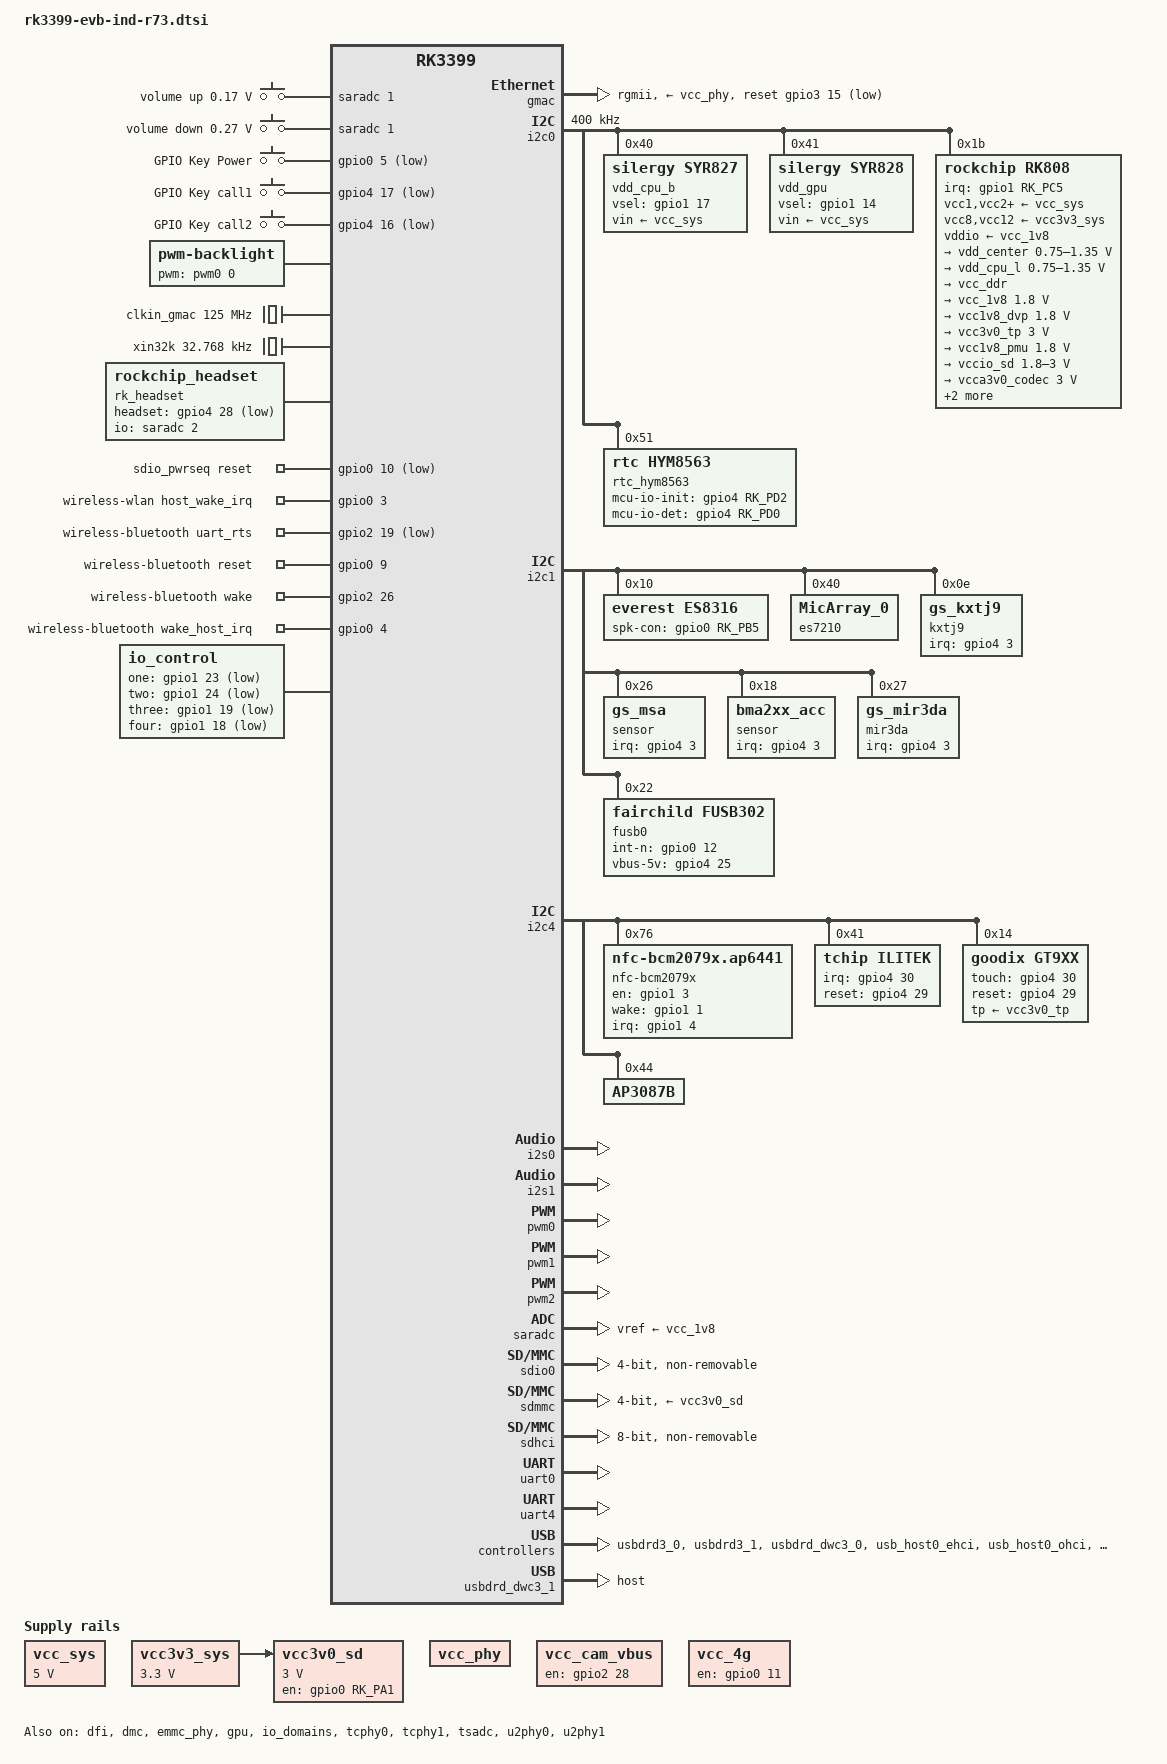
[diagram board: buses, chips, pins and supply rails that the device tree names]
// SPDX-License-Identifier: (GPL-2.0+ OR MIT)
/*
 * Copyright (c) 2019 Fuzhou Rockchip Electronics Co., Ltd
 */

#include "dt-bindings/pwm/pwm.h"
#include "rk3399.dtsi"
#include "rk3399-opp.dtsi"
#include <dt-bindings/sensor-dev.h>
#include "rk3399-vop-clk-set.dtsi"
#include <dt-bindings/input/input.h>

/ {
	compatible = "rockchip,rk3399-evb-ind", "rockchip,rk3399";

	adc_keys {
		compatible = "adc-keys";
		io-channels = <&saradc 1>;
		io-channel-names = "buttons";
		keyup-threshold-microvolt = <1800000>;
		poll-interval = <100>;

		vol-up-key {
			label = "volume up";
			linux,code = <KEY_VOLUMEUP>;
			press-threshold-microvolt = <170000>;   //100000
		};

		vol-down-key {
			label = "volume down";
			linux,code = <KEY_VOLUMEDOWN>;
			press-threshold-microvolt = <270000>;
		};
	};

	gpio_keys: gpio-keys {
		status = "okay";
		compatible = "gpio-keys";
		autorepeat;
		pinctrl-names = "default";
		pinctrl-0 = <&pwrbtn>;
		pinctrl-1 = <&key_call1>;
		pinctrl-2 = <&key_call2>;

		power {
			debounce-interval = <100>;
			gpios = <&gpio0 5 GPIO_ACTIVE_LOW>;
			label = "GPIO Key Power";
			linux,code = <KEY_POWER>;
			wakeup-source;
		};
		
		call1 {
		    debounce-interval = <5>;
			gpios = <&gpio4 17 GPIO_ACTIVE_LOW>;
			linux,code = <289>;
			label = "GPIO Key call1";
			//pinctrl-names = "default", "gpio";
			//pinctrl-0 = <&i2c3_gpio>;
			gpio-key;
		};

		call2 {
		    debounce-interval = <5>;
			gpios = <&gpio4 16 GPIO_ACTIVE_LOW>;
			linux,code = <290>;
			label = "GPIO Key call2";
			//pinctrl-names = "default", "gpio";
			//pinctrl-0 = <&i2c3_gpio>;
			gpio-key;
	    };
	};

	backlight: backlight {
		status = "okay";
		compatible = "pwm-backlight";
		pwms = <&pwm0 0 500000 0>;
		brightness-levels = <
			  0   1   2   3   4   5   6   7
			  8   9  10  11  12  13  14  15
			 16  17  18  19  20  21  22  23
			 24  25  26  27  28  29  30  31
			 32  33  34  35  36  37  38  39
			 40  41  42  43  44  45  46  47
			 48  49  50  51  52  53  54  55
			 56  57  58  59  60  61  62  63
			 64  65  66  67  68  69  70  71
			 72  73  74  75  76  77  78  79
			 80  81  82  83  84  85  86  87
			 88  89  90  91  92  93  94  95
			 96  97  98  99 100 101 102 103
			104 105 106 107 108 109 110 111
			112 113 114 115 116 117 118 119
			120 121 122 123 124 125 126 127
			128 129 130 131 132 133 134 135
			136 137 138 139 140 141 142 143
			144 145 146 147 148 149 150 151
			152 153 154 155 156 157 158 159
			160 161 162 163 164 165 166 167
			168 169 170 171 172 173 174 175
			176 177 178 179 180 181 182 183
			184 185 186 187 188 189 190 191
			192 193 194 195 196 197 198 199
			200 201 202 203 204 205 206 207
			208 209 210 211 212 213 214 215
			216 217 218 219 220 221 222 223
			224 225 226 227 228 229 230 231
			232 233 234 235 236 237 238 239
			240 241 242 243 244 245 246 247
			248 249 250 251 252 253 254 255>;
		default-brightness-level = <200>;
	};

	clkin_gmac: external-gmac-clock {
		compatible = "fixed-clock";
		clock-frequency = <125000000>;
		clock-output-names = "clkin_gmac";
		#clock-cells = <0>;
	};
	xin32k: xin32k {
		compatible = "fixed-clock";
		clock-frequency = <32768>;
		clock-output-names = "xin32k";
		#clock-cells = <0>;
	};
/*
	dw_hdmi_audio: dw-hdmi-audio {
		status = "disabled";
		compatible = "rockchip,dw-hdmi-audio";
		#sound-dai-cells = <0>;
	};


	dp_sound: dp-sound {
		status = "disabled";
		compatible = "rockchip,cdndp-sound";
		rockchip,cpu = <&spdif>;
		rockchip,codec = <&cdn_dp 1>;
	};

	hdmi_sound: hdmi-sound {
		status = "disabled";
		compatible = "simple-audio-card";
		simple-audio-card,format = "i2s";
		simple-audio-card,mclk-fs = <256>;
		simple-audio-card,name = "rockchip,hdmi";

		simple-audio-card,cpu {
			sound-dai = <&i2s2>;
		};
		simple-audio-card,codec {
			sound-dai = <&hdmi>;
		};
	};

	

	spdif_sound: spdif-sound {
		status = "okay";
		compatible = "simple-audio-card";
		simple-audio-card,name = "ROCKCHIP,SPDIF";
		simple-audio-card,cpu {
			sound-dai = <&spdif>;
		};
		simple-audio-card,codec {
			sound-dai = <&spdif_out>;
		};
	};
*/

	es8316-sound {
		status = "okay";
		compatible = "simple-audio-card";
		simple-audio-card,format = "i2s";
		simple-audio-card,name = "rockchip,es8316-codec";
		simple-audio-card,mclk-fs = <512>;
		simple-audio-card,widgets =
			"Microphone", "Mic Jack",
			"Headphone", "Headphone Jack";
		simple-audio-card,routing =
			"Mic Jack", "MICBIAS1",
			"IN1P", "Mic Jack",
			"Headphone Jack", "HPOL",
			"Headphone Jack", "HPOR";
		simple-audio-card,cpu {
			sound-dai = <&i2s1>;
			system-clock-frequency = <12288000>;   //48K 44100---11289600  (48000*64*4)
		};
		simple-audio-card,codec {
			sound-dai = <&es8316>;
			system-clock-frequency = <12288000>;
		};
	};

	es7210_sound:es7210-sound {
		status = "okay";
		compatible = "simple-audio-card";
		simple-audio-card,format = "i2s";
		simple-audio-card,name = "rockchip,es7210-codec";
		simple-audio-card,mclk-fs = <512>;
		simple-audio-card,widgets =
		"Microphone", "Microphone Jack",
		"Headphone", "Headphone Jack";
		simple-audio-card,routing =
		"MIC1", "Microphone Jack",
		"MIC2", "Microphone Jack",
		"Microphone Jack", "micbias1",
		"Headphone Jack", "HPOL",
		"Headphone Jack", "HPOR";
		simple-audio-card,cpu {
			sound-dai = <&i2s0>;
		};
		simple-audio-card,codec {
			sound-dai = <&es7210>;
		};
	};

	rk_headset: rk-headset {
		compatible = "rockchip_headset";
		headset_gpio = <&gpio4 28 GPIO_ACTIVE_LOW>;//hua tong GPIO_ACTIVE_HIGH
		pinctrl-names = "default";
		pinctrl-0 = <&hp_det>;
		io-channels = <&saradc 2>;
	};   

/*
	spdif_out: spdif-out {
		status = "okay";
		compatible = "linux,spdif-dit";
		#sound-dai-cells = <0>;
	};
*/
   
	sdio_pwrseq: sdio-pwrseq {
		compatible = "mmc-pwrseq-simple";
		clocks = <&rk808 1>;
		clock-names = "ext_clock";
		pinctrl-names = "default";
		pinctrl-0 = <&wifi_enable_h>;

		/*
		 * On the module itself this is one of these (depending
		 * on the actual card populated):
		 * - SDIO_RESET_L_WL_REG_ON
		 * - PDN (power down when low)
		 */
		reset-gpios = <&gpio0 10 GPIO_ACTIVE_LOW>; /* GPIO0_B2 */
	};

	wireless-wlan {
		compatible = "wlan-platdata";
		rockchip,grf = <&grf>;
		wifi_chip_type = "ap6354";
		sdio_vref = <1800>;
		WIFI,host_wake_irq = <&gpio0 3 GPIO_ACTIVE_HIGH>; /* GPIO0_a3 */
		status = "okay";
	};

	wireless-bluetooth {
		compatible = "bluetooth-platdata";
		clocks = <&rk808 1>;
		clock-names = "ext_clock";
		//wifi-bt-power-toggle;
		uart_rts_gpios = <&gpio2 19 GPIO_ACTIVE_LOW>; /* GPIO2_C3 */
		pinctrl-names = "default", "rts_gpio";
		pinctrl-0 = <&uart0_rts>, <&bt_reset_gpio>, <&bt_wake_gpio>, <&bt_irq_gpio>;
		pinctrl-1 = <&uart0_gpios>;
		//BT,power_gpio  = <&gpio3 19 GPIO_ACTIVE_HIGH>; /* GPIOx_xx */
		BT,reset_gpio    = <&gpio0 9 GPIO_ACTIVE_HIGH>; /* GPIO0_B1 */
		BT,wake_gpio     = <&gpio2 26 GPIO_ACTIVE_HIGH>; /* GPIO2_D2 */
		BT,wake_host_irq = <&gpio0 4 GPIO_ACTIVE_HIGH>; /* GPIO0_A4 */
		status = "okay";
	};

	io_control {
		compatible = "io_control";
		gpio-one = <&gpio1 23 GPIO_ACTIVE_LOW>;
		gpio-two = <&gpio1 24 GPIO_ACTIVE_LOW>;
		gpio-three = <&gpio1 19 GPIO_ACTIVE_LOW>;
		gpio-four = <&gpio1 18 GPIO_ACTIVE_LOW>;
//FOR hua tong
		//gpio-three = <&gpio4 16 GPIO_ACTIVE_LOW>;
		//gpio-four = <&gpio2 28 GPIO_ACTIVE_LOW>;
		pinctrl-names = "default","one","two","three";
		pinctrl-0 = <&gpio_one>;
		pinctrl-1 = <&gpio_two>;
		pinctrl-2 = <&gpio_three>;
		pinctrl-3 = <&gpio_four>;
		status = "okay";
	};

/*	
	rk_modem: rk-modem {
		compatible="4g-modem-platdata";
		pinctrl-names = "default";
		pinctrl-0 = <&lte_vbat &lte_power_en &lte_reset>;
		4G,vbat-gpio = <&gpio4 RK_PD0 GPIO_ACTIVE_HIGH>;
		4G,power-gpio = <&gpio4 RK_PC6 GPIO_ACTIVE_LOW>;
		4G,reset-gpio = <&gpio4 RK_PD4 GPIO_ACTIVE_LOW>;
		status = "disabled";
	};
*/

/*	vcc_otg_vbus: otg-vbus-regulator { 	
		compatible = "regulator-fixed"; 
		//gpio = <&gpio3 RK_PC6 GPIO_ACTIVE_HIGH>; 
		gpio = <&gpio4 RK_PD1 GPIO_ACTIVE_HIGH>;
		pinctrl-names = "default"; 
		pinctrl-0 = <&otg_vbus_drv>; 
		regulator-name = "vcc_otg_vbus"; 
		regulator-min-microvolt = <5000000>; 
		regulator-max-microvolt = <5000000>; 
		enable-active-high; 
	};*/
/*
	vcc5v0_usbnet: vcc5v0-usbnet {
		compatible = "regulator-fixed";
		enable-active-high;
		//gpio = <&gpio4 18 GPIO_ACTIVE_HIGH>;
		pinctrl-names = "default";
		pinctrl-0 = <&usbnet_pwr_drv>;
		regulator-name = "vcc5v0_usbnet";
		startup-delay-us = <20000>;
		regulator-min-microvolt = <5000000>;
		regulator-max-microvolt = <5000000>;
		status = "okay";
	};
*/
	vcc_sys: vcc-sys {
		compatible = "regulator-fixed";	
		regulator-name = "vcc_sys";
		regulator-always-on;
		regulator-boot-on;
		regulator-min-microvolt = <5000000>;
		regulator-max-microvolt = <5000000>;
	};

	vcc3v3_sys: vcc3v3-sys {
		compatible = "regulator-fixed";
		regulator-name = "vcc3v3_sys";
		regulator-always-on;
		regulator-boot-on;
		regulator-min-microvolt = <3300000>;
		regulator-max-microvolt = <3300000>;
	};

	vcc3v0_sd: vcc3v0-sd {
		compatible = "regulator-fixed";
		enable-active-high;
		gpio = <&gpio0 RK_PA1 GPIO_ACTIVE_HIGH>;
		pinctrl-names = "default";
		pinctrl-0 = <&sdmmc0_pwr_h>;
		regulator-always-on;
		regulator-max-microvolt = <3000000>;
		regulator-min-microvolt = <3000000>;
		regulator-name = "vcc3v0_sd";
		vin-supply = <&vcc3v3_sys>;
	};

	vcc_phy: vcc-phy-regulator {
		compatible = "regulator-fixed";
		regulator-name = "vcc_phy";
		regulator-always-on;
		regulator-boot-on;
	};

	//for hua tong /*vcc_cam_vbus*/
	vcc_cam_vbus: cam-vbus-regulator { 	
		compatible = "regulator-fixed"; 		
		gpio = <&gpio2 28 GPIO_ACTIVE_HIGH>;
		pinctrl-names = "default"; 
		pinctrl-0 = <&usb_cam_drv>; 
		regulator-name = "vcc_cam_vbus"; 
		regulator-always-on;
		regulator-boot-on; 
		enable-active-high; 
	};

	vcc_4g: vcc-4g-regulator {
		compatible = "regulator-fixed";
		enable-active-high;
		gpio = <&gpio0 11 GPIO_ACTIVE_HIGH>;
		pinctrl-names = "default";
		pinctrl-0 = <&vcc_4g_drv>;
		regulator-name = "vcc_4g";
		regulator-always-on;
		regulator-boot-on;		
	};

    /*vcc_rfid_vbus: rfid-vbus-regulator { 	
		compatible = "regulator-fixed"; 		
		gpio = <&gpio1 4 GPIO_ACTIVE_HIGH>;
		pinctrl-names = "default"; 
		pinctrl-0 = <&vcc_rfid_drv>; 
		regulator-name = "vcc_rfid_vbus"; 
		regulator-always-on;
		regulator-boot-on; 
		enable-active-high; 
	};*/
	/*vdd_log: vdd-log {
		compatible = "pwm-regulator";
		regulator-name = "vdd_log";
		regulator-min-microvolt = <800000>;
		regulator-max-microvolt = <1400000>;
		regulator-always-on;
		regulator-boot-on;
		rockchip,pwm_id= <2>;
		rockchip,pwm_voltage = <900000>;
	};*/
};

&cpu_l0 {
	cpu-supply = <&vdd_cpu_l>;
};

&cpu_l1 {
	cpu-supply = <&vdd_cpu_l>;
};

&cpu_l2 {
	cpu-supply = <&vdd_cpu_l>;
};

&cpu_l3 {
	cpu-supply = <&vdd_cpu_l>;
};

&cpu_b0 {
	cpu-supply = <&vdd_cpu_b>;
};

&cpu_b1 {
	cpu-supply = <&vdd_cpu_b>;
};
/*
&cdn_dp {
	status = "disabled";
	extcon = <&fusb0>;
	phys = <&tcphy0_dp>;
};
*/
&dp_in_vopb {
	status = "disabled";
};

&dfi {
	status = "okay";
};

&dmc {
	status = "okay";
	center-supply = <&vdd_center>;
	upthreshold = <40>;
	downdifferential = <20>;
	system-status-freq = <
		/*system status         freq(KHz)*/
		SYS_STATUS_NORMAL       856000
		SYS_STATUS_REBOOT       856000
		SYS_STATUS_SUSPEND      328000
		SYS_STATUS_VIDEO_1080P  666000
		SYS_STATUS_VIDEO_4K     856000
		SYS_STATUS_VIDEO_4K_10B 856000
		SYS_STATUS_PERFORMANCE  856000
		SYS_STATUS_BOOST        856000
		SYS_STATUS_DUALVIEW     856000
		SYS_STATUS_ISP          856000
	>;
	vop-bw-dmc-freq = <
	/* min_bw(MB/s) max_bw(MB/s) freq(KHz) */
		0       762      416000
		763     3012     666000
		3013    99999    856000
	>;

	vop-pn-msch-readlatency = <
		0	0x20
		4	0x20
	>;

	auto-min-freq = <328000>;
	auto-freq-en = <0>;
};

&dmc_opp_table {
		compatible = "operating-points-v2";

		opp-200000000 {
			opp-hz = /bits/ 64 <200000000>;
			opp-microvolt = <900000>;
			status = "disabled";
		};
		opp-300000000 {
			opp-hz = /bits/ 64 <300000000>;
			opp-microvolt = <900000>;
			status = "disabled";
		};
		opp-328000000 {
			opp-hz = /bits/ 64 <328000000>;
			opp-microvolt = <900000>;
		};
		opp-400000000 {
			opp-hz = /bits/ 64 <400000000>;
			opp-microvolt = <900000>;
			status = "disabled";
		};
		opp-416000000 {
			opp-hz = /bits/ 64 <416000000>;
			opp-microvolt = <900000>;
		};
		opp-528000000 {
			opp-hz = /bits/ 64 <528000000>;
			opp-microvolt = <900000>;
			status = "disabled";
		};
		opp-600000000 {
			opp-hz = /bits/ 64 <600000000>;
			opp-microvolt = <900000>;
			status = "disabled";
		};
		opp-666000000 {
			opp-hz = /bits/ 64 <666000000>;
			opp-microvolt = <900000>;
		};
		opp-800000000 {
			opp-hz = /bits/ 64 <800000000>;
			opp-microvolt = <900000>;
			status = "disabled";
		};
		opp-856000000 {
			opp-hz = /bits/ 64 <856000000>;
			opp-microvolt = <900000>;
		};
		opp-928000000 {
			opp-hz = /bits/ 64 <928000000>;
			opp-microvolt = <900000>;
			status = "disabled";
		};
};

&emmc_phy {
	status = "okay";
};

&gmac {
	phy-supply = <&vcc_phy>;
	phy-mode = "rgmii";
	clock_in_out = "input";
	snps,reset-gpio = <&gpio3 15 GPIO_ACTIVE_LOW>;
	snps,reset-active-low;
	snps,reset-delays-us = <0 10000 50000>;
	assigned-clocks = <&cru SCLK_RMII_SRC>;
	assigned-clock-parents = <&clkin_gmac>;
	pinctrl-names = "default";
	pinctrl-0 = <&rgmii_pins>;
	tx_delay = <0x34>;
	rx_delay = <0x29>;
	status = "okay";
};

&gpu {
	status = "okay";
	mali-supply = <&vdd_gpu>;
};

&hdmi {
	status = "disabled";
};

&i2c0 {
	status = "okay";
	i2c-scl-rising-time-ns = <168>;
	i2c-scl-falling-time-ns = <4>;
	clock-frequency = <400000>;



	vdd_cpu_b: syr837@40 {
		compatible = "silergy,syr827";
		reg = <0x40>;
		vin-supply = <&vcc_sys>;
		regulator-compatible = "fan53555-reg";
		pinctrl-0 = <&vsel1_gpio>;
		vsel-gpios = <&gpio1 17 GPIO_ACTIVE_HIGH>;
		regulator-name = "vdd_cpu_b";
		regulator-min-microvolt = <712500>;
		regulator-max-microvolt = <1500000>;
		regulator-ramp-delay = <16001>;
		fcs,suspend-voltage-selector = <1>;
		regulator-always-on;
		regulator-initial-state = <3>;
		regulator-state-mem {
		    //modify by pirlo for slove reboot crash
			regulator-on-in-suspend;
		};
	};

	
	vdd_gpu: syr828@41 {
		compatible = "silergy,syr828";
		status = "okay";
		reg = <0x41>;
		vin-supply = <&vcc_sys>;
		regulator-compatible = "fan53555-reg";
		pinctrl-0 = <&vsel2_gpio>;
		vsel-gpios = <&gpio1 14 GPIO_ACTIVE_HIGH>;
		regulator-name = "vdd_gpu";
		regulator-min-microvolt = <735000>;
		regulator-max-microvolt = <1400000>;
		regulator-ramp-delay = <16001>;
		fcs,suspend-voltage-selector = <1>;
		regulator-always-on;
		regulator-boot-on;
		regulator-state-mem {
			//modify by pirlo for slove reboot crash
			regulator-on-in-suspend;
		};
	};

	rk808: pmic@1b {
		compatible = "rockchip,rk808";
		reg = <0x1b>;
		interrupt-parent = <&gpio1>;
		interrupts = <RK_PC5 IRQ_TYPE_LEVEL_LOW>;
		pinctrl-names = "default";//add by rocky.sun
		pinctrl-0 = <&pmic_int_l>;
		rockchip,system-power-controller;
		wakeup-source;
		#clock-cells = <1>;
		clock-output-names = "rk808-clkout1", "rk808-clkout2";
		//clock-output-names = "xin32k", "rk808-clkout2";//modify by rocky.sun


		vcc1-supply = <&vcc_sys>;
		vcc2-supply = <&vcc_sys>;
		vcc3-supply = <&vcc_sys>;
		vcc4-supply = <&vcc_sys>;
		vcc6-supply = <&vcc_sys>;
		vcc7-supply = <&vcc_sys>;
		vcc8-supply = <&vcc3v3_sys>;
		vcc9-supply = <&vcc_sys>;
		vcc10-supply = <&vcc_sys>;
		vcc11-supply = <&vcc_sys>;
		vcc12-supply = <&vcc3v3_sys>;
		vddio-supply = <&vcc_1v8>;


		regulators {
			vdd_center: DCDC_REG1 {
				regulator-always-on;
				regulator-boot-on;
				regulator-min-microvolt = <750000>;
				regulator-max-microvolt = <1350000>;
				regulator-ramp-delay = <6001>;
				regulator-initial-mode = <0x2>;
				regulator-name = "vdd_center";
				regulator-state-mem {
					//regulator-off-in-suspend;
					regulator-on-in-suspend;
					regulator-suspend-microvolt = <900000>;
				};
			};

			vdd_cpu_l: DCDC_REG2 {
				regulator-always-on;
				regulator-boot-on;
				regulator-min-microvolt = <750000>;
				regulator-max-microvolt = <1350000>;
				regulator-ramp-delay = <6001>;
				regulator-initial-mode = <0x2>;
				regulator-name = "vdd_cpu_l";
				regulator-state-mem {
					regulator-off-in-suspend;
				};
			};

			vcc_ddr: DCDC_REG3 {
				regulator-always-on;
				regulator-boot-on;
				regulator-name = "vcc_ddr";
				regulator-initial-mode = <0x2>;
				regulator-state-mem {
					regulator-on-in-suspend;
				};
			};

			 //vcca1v8_codec:
			vcc_1v8: DCDC_REG4 {
				regulator-always-on;
				regulator-boot-on;
				regulator-min-microvolt = <1800000>;
				regulator-max-microvolt = <1800000>;
				regulator-initial-mode = <0x2>;
				regulator-name = "vcc_1v8";
				regulator-state-mem {
					regulator-on-in-suspend;
					regulator-suspend-microvolt = <1800000>;
				};
			};
			vcc1v8_dvp: LDO_REG1 {
				regulator-always-on;
				regulator-boot-on;
				regulator-min-microvolt = <1800000>;//1900000
				regulator-max-microvolt = <1800000>;//1900000
				regulator-name = "vcc1v8_dvp";
				regulator-state-mem {
					regulator-on-in-suspend;
					regulator-suspend-microvolt = <1800000>;
				};
			};

			vcc3v0_tp: LDO_REG2 {
				regulator-always-on;
				regulator-boot-on;
				//modify by pirlo for hdmi voltage to  touchscreen 3.0v
				regulator-min-microvolt = <3000000>;
				regulator-max-microvolt = <3000000>;
				regulator-name = "vcc3v0_tp";
				regulator-state-mem {
					regulator-on-in-suspend;
					regulator-suspend-microvolt = <3000000>;
				};
			};

			vcc1v8_pmu: LDO_REG3 {
				regulator-always-on;
				regulator-boot-on;
				regulator-min-microvolt = <1800000>;
				regulator-max-microvolt = <1800000>;
				regulator-name = "vcc1v8_pmu";
				regulator-state-mem {
					regulator-on-in-suspend;
					regulator-suspend-microvolt = <1800000>;
				};
			};

			vccio_sd: LDO_REG4 {
				regulator-always-on;
				regulator-boot-on;
				regulator-min-microvolt = <1800000>;
				regulator-max-microvolt = <3000000>;
				regulator-name = "vccio_sd";
				regulator-state-mem {
					regulator-on-in-suspend;
					regulator-suspend-microvolt = <3000000>;
				};
			};

			vcca3v0_codec: LDO_REG5 {
				regulator-always-on;
				regulator-boot-on;
				regulator-min-microvolt = <3000000>;
				regulator-max-microvolt = <3000000>;
				regulator-name = "vcca3v0_codec";
				regulator-state-mem {
					//regulator-off-in-suspend;
					regulator-on-in-suspend;
					regulator-suspend-microvolt = <3000000>;
				};
			};

			vcc_1v5: LDO_REG6 {
				regulator-always-on;
				regulator-boot-on;
				regulator-min-microvolt = <1500000>;
				regulator-max-microvolt = <1500000>;
				regulator-name = "vcc_1v5";
				regulator-state-mem {
					regulator-on-in-suspend;
					regulator-suspend-microvolt = <1500000>;
				};
			};

            //modify by pirlo for change hdmi 0.9v to codec 1.8v
			vcca1v8_codec: LDO_REG7 {
				regulator-name = "vcca1v8_codec";
				regulator-min-microvolt = <1800000>;
				regulator-max-microvolt = <1800000>;
				regulator-always-on;
				regulator-boot-on;
				regulator-state-mem {
					regulator-on-in-suspend;
					regulator-suspend-microvolt = <1800000>;
				};
			};

			vcc_3v0: LDO_REG8 {
				regulator-always-on;
				regulator-boot-on;
				regulator-min-microvolt = <3000000>;
				regulator-max-microvolt = <3000000>;
				regulator-name = "vcc_3v0";
				regulator-state-mem {
					regulator-on-in-suspend;
					regulator-suspend-microvolt = <3000000>;
				};
			};

			vcc3v3_s3: SWITCH_REG1 {
				regulator-always-on;
				regulator-boot-on;
				regulator-name = "vcc3v3_s3";
				regulator-state-mem {
					regulator-on-in-suspend;
				};
			};

			vcc3v3_s0: SWITCH_REG2 {
				regulator-boot-on;
				//modify by pirlo 
				//regulator-always-on;
				regulator-name = "vcc3v3_s0";
				regulator-state-mem {
					regulator-off-in-suspend;
				};
			};
		};
	};

	//modify by pirlo  for rtc
	rtc_hym8563: rtc_hym8563@51 {
		compatible = "rtc,hym8563";
		reg = <0x51>;
		mcu-io-init = <&gpio4 RK_PD2 GPIO_ACTIVE_HIGH>;	
		mcu-io-det = <&gpio4 RK_PD0 GPIO_ACTIVE_HIGH>;	
	};
};

&i2c1 {
	status = "okay";
	i2c-scl-rising-time-ns = <140>;
	i2c-scl-falling-time-ns = <30>;
	
	es8316: es8316@10 {
		status = "okay";
		#sound-dai-cells = <0>;
		compatible = "everest,es8316";
		reg = <0x10>;
		clocks = <&cru SCLK_I2S_8CH_OUT>;
		clock-names = "mclk";
		pinctrl-names = "default";
		pinctrl-0 = <&i2s_8ch_mclk>;

		spk-con-gpio = <&gpio0 RK_PB5 GPIO_ACTIVE_HIGH>;//LPDDR4
		//hp-con-gpio = <&gpio4 23 GPIO_ACTIVE_HIGH>;
		spk_volume = <0xbb>;

		extcon = <&rk_headset>;		
	};	

	es7210: es7210@40 {
	    status = "okay";
	    //status = "disabled";
		#sound-dai-cells = <0>;
		compatible = "MicArray_0";
		reg = <0x40>;
		clocks = <&cru SCLK_I2S_8CH_OUT>;
		clock-names = "mclk";
		pinctrl-names = "default";
		//pinctrl-0 = <&i2s_8ch_mclk>;
	};
  
	kxtj9@0e {
		compatible = "gs_kxtj9";
		reg = <0x0e>;
		type = <SENSOR_TYPE_ACCEL>;
        irq-gpio = <&gpio4 3 IRQ_TYPE_LEVEL_LOW>;		
		irq_enable = <0>;
		poll_delay_ms = <30>;
		//layout = <5>;	 //R66 R67
		//layout = <2>;	 //R69	
		layout = <7>;   //r73
		status = "okay";
	};
	
	sensor@26 {
		compatible = "gs_msa";
		reg = <0x26>;
		type = <SENSOR_TYPE_ACCEL>;
		irq-gpio = <&gpio4 3 IRQ_TYPE_LEVEL_LOW>;		
		irq_enable = <0>;
		poll_delay_ms = <30>;
		layout = <3>;
	};

	sensor@18 {
		compatible = "bma2xx_acc";
		reg = <0x18>;
		type = <SENSOR_TYPE_ACCEL>;
        irq-gpio = <&gpio4 3 IRQ_TYPE_LEVEL_LOW>;		
		irq_enable = <0>;
		poll_delay_ms = <30>;
		//layout = <5>;	 //R66 R67
		layout = <7>;	 //R69	2 3 4 5
		status = "okay";
	};

	mir3da:sensor@27{
		compatible = "gs_mir3da"; 
		reg = <0x27>; 
		type = <SENSOR_TYPE_ACCEL>; 
		
		irq-gpio = <&gpio4 3 IRQ_TYPE_LEVEL_LOW>;           
		irq_enable = <0>; 
		poll_delay_ms = <30>; 
		//layout = <2>;   /// R08 DEMO 180   21.5 24
		layout = <4>;   /// R08 DEMO rotation 0  32 15.6
	};

	fusb0: fusb30x@22 {
		compatible = "fairchild,fusb302";
		reg = <0x22>;
		pinctrl-names = "default";
		pinctrl-0 = <&fusb0_int>;
		int-n-gpios = <&gpio0 12 GPIO_ACTIVE_HIGH>;
		vbus-5v-gpios = <&gpio4 25 GPIO_ACTIVE_HIGH>;
		status = "okay";
	};	
};

&i2c3{
    status = "disabled";
};

&i2c4 {
	status = "okay";
	i2c-scl-rising-time-ns = <475>;
	i2c-scl-falling-time-ns = <26>;
	
    nfc-bcm2079x@76 {
        	compatible = "nfc-bcm2079x.ap6441";
        	reg = <0x76>;
        //	pw_gpio = <&gpio4 4 GPIO_ACTIVE_HIGH>;       ////gpio4_a4
        	en_gpio = <&gpio1 3 GPIO_ACTIVE_HIGH>;       ////gpio1_a3
        	wake_gpio = <&gpio1 1 GPIO_ACTIVE_HIGH>; 
        	irq_gpio = <&gpio1 4 IRQ_TYPE_EDGE_RISING>;  ////gpio4_a7
        	status = "okay";
    };
    
/*
	//modify by pirlo for bm250 sensor
	bma2x2: bma250@18 {
                compatible = "bma2xx_acc";
                status = "okay";
                reg = <0x18>;
                type = <SENSOR_TYPE_ACCEL>;
             //   pinctrl-names = "default";
             //   pinctrl-0 = <&gpio2_c1>;
                irq-gpio = <&gpio1 0 IRQ_TYPE_LEVEL_LOW>;
                irq_enable = <0>;
                poll_delay_ms = <30>;
                layout = <3>;
              //  reprobe_en = <1>;// this sensor need to be probe again 
    };	

	mpu6500@68 {
		status = "disabled";
		compatible = "invensense,mpu6500";
		reg = <0x68>;
		irq-gpio = <&gpio1 22 IRQ_TYPE_EDGE_RISING>;
		pinctrl-names = "default";
		pinctrl-0 = <&mpu6500_irq_gpio>;
		mpu-int_config = <0x10>;
		mpu-level_shifter = <0>;
		mpu-orientation = <0 1 0 1 0 0 0 0 1>;
		orientation-x= <0>;
		orientation-y= <0>;
		orientation-z= <0>;
		mpu-debug = <1>;
	};

	mpu6500_acc: mpu_acc@68 {
		compatible = "mpu6500_acc";
		reg = <0x68>;
		irq-gpio = <&gpio1 22 IRQ_TYPE_EDGE_RISING>;
		irq_enable = <0>;
		poll_delay_ms = <30>;
		type = <SENSOR_TYPE_ACCEL>;
		layout = <8>;
	};

	mpu6500_gyro: mpu_gyro@68 {
		compatible = "mpu6500_gyro";
		reg = <0x68>;
		irq_enable = <0>;
		poll_delay_ms = <30>;
		type = <SENSOR_TYPE_GYROSCOPE>;
		layout = <8>;
	};
*/
/*
	fusb0: fusb30x@22 {
		compatible = "fairchild,fusb302";
		reg = <0x22>;
		pinctrl-names = "default";
		pinctrl-0 = <&fusb0_int>;
		int-n-gpios = <&gpio1 2 GPIO_ACTIVE_HIGH>;
		vbus-5v-gpios = <&gpio1 18 GPIO_ACTIVE_HIGH>;
		status = "okay";
	};
*/
/*
	sensor@0d {
		status = "okay";
		compatible = "ak8963";
		pinctrl-names = "default";
		pinctrl-0 = <&ak8963_irq_gpio>;
		reg = <0x0d>;
		type = <SENSOR_TYPE_COMPASS>;
		irq-gpio = <&gpio1 0 IRQ_TYPE_EDGE_RISING>;
		irq_enable = <0>;
		poll_delay_ms = <30>;
		layout = <6>;
	};

	bq25700: bq25700@6b {//6a
		compatible = "ti,bq25703";
		reg = <0x6b>;
		extcon = <&fusb0>;

		interrupt-parent = <&gpio0>;
		interrupts = <5 IRQ_TYPE_LEVEL_LOW>;
		pinctrl-names = "default";
		pinctrl-0 = <&charger_ok>;
		ti,charge-current = <2500000>;
		ti,max-input-voltage = <20000000>;
		ti,max-input-current = <6000000>;
		ti,max-charge-voltage = <8750000>;
		ti,input-current = <500000>;
		ti,input-current-sdp = <500000>;
		ti,input-current-dcp = <2000000>;
		ti,input-current-cdp = <2000000>;
		ti,minimum-sys-voltage = <7400000>;
		ti,otg-voltage = <5000000>;
		ti,otg-current = <500000>;
		pd-charge-only = <0>;
		status = "disabled";
	};
*/

	ilitek@41 {
        	status = "okay";
        	compatible = "tchip,ilitek";
        	reg = <0x41>;
	    	ilitek,irq-gpio = <&gpio4 30 IRQ_TYPE_LEVEL_LOW>;
	    	ilitek,reset-gpio = <&gpio4 29 GPIO_ACTIVE_HIGH>;	    
    	};

	gt9xx: gt9xx@14 {
		compatible = "goodix,gt9xx";
		reg = <0x14>;
		touch-gpio = <&gpio4 30 IRQ_TYPE_LEVEL_LOW>;
		reset-gpio = <&gpio4 29 GPIO_ACTIVE_HIGH>;
		//max-x = <1200>;
		//max-y = <1900>;
		tp-size = <911>;
		max-x = <1280>;
		max-y = <800>;
		tp-supply = <&vcc3v0_tp>;	
	};

    AP3087B@44 {
               status = "okay";
               compatible = "AP3087B";
               reg = <0x44>;
       //      power-gpio = <&gpio1 GPIO_B7 GPIO_ACTIVE_LOW>;
    };

};
/*
&i2c6 {
	cw2015@62 {
		status = "disabled";
		compatible = "cw201x";
		reg = <0x62>;
		bat_config_info = <0x15 0x42 0x60 0x59 0x52 0x58 0x4D 0x48
				   0x48 0x44 0x44 0x46 0x49 0x48 0x32 0x24
				   0x20 0x17 0x13 0x0F 0x19 0x3E 0x51 0x45
				   0x08 0x76 0x0B 0x85 0x0E 0x1C 0x2E 0x3E
				   0x4D 0x52 0x52 0x57 0x3D 0x1B 0x6A 0x2D
				   0x25 0x43 0x52 0x87 0x8F 0x91 0x94 0x52
				   0x82 0x8C 0x92 0x96 0xFF 0x7B 0xBB 0xCB
				   0x2F 0x7D 0x72 0xA5 0xB5 0xC1 0x46 0xAE>;
		monitor_sec = <5>;
		virtual_power = <0>;
	};
};
*/
&i2s0 {
	status = "okay";
	rockchip,i2s-broken-burst-len;
	rockchip,playback-channels = <8>;
	rockchip,capture-channels = <4>;
	#sound-dai-cells = <0>;
};

&i2s1 {
	#sound-dai-cells = <0>;
	status = "okay";
};

&i2s2 {
	#sound-dai-cells = <0>;
	dmas = <&dmac_bus 4>;
	dma-names = "tx";
	status = "disabled";
};

&io_domains {
	status = "okay";

	bt656-supply = <&vcc1v8_dvp>;		/* bt656_gpio2ab_ms */
	audio-supply = <&vcc_1v8>;	/* audio_gpio3d4a_ms */
	sdmmc-supply = <&vccio_sd>;		/* sdmmc_gpio4b_ms */
	gpio1830-supply = <&vcc_3v0>;		/* gpio1833_gpio4cd_ms */
};

&isp0_mmu {
	status = "okay";
};

&isp1_mmu {
	status = "okay";
};

&pmu_io_domains {
	status = "okay";
	pmu1830-supply = <&vcc_3v0>;
};

/*
&pcie_phy {
	status = "okay";
};

&pcie0 {
	ep-gpios = <&gpio2 RK_PA4 GPIO_ACTIVE_HIGH>;
	num-lanes = <4>;
	pinctrl-names = "default";
	pinctrl-0 = <&pcie_clkreqn_cpm>;
	status = "okay";
};
*/
&pwm0 {
	status = "okay";
};

&pwm1 {
	status = "okay";
};

&pwm2 {
	status = "okay";
//	pinctrl-names = "active";
//	pinctrl-0 = <&pwm2_pin_pull_down>;
};

&rockchip_suspend {
	status = "okay";
	rockchip,sleep-debug-en = <1>;
	rockchip,sleep-mode-config = <
		(0
		| RKPM_SLP_ARMPD
		| RKPM_SLP_PERILPPD
		| RKPM_SLP_DDR_RET
		| RKPM_SLP_PLLPD
		| RKPM_SLP_CENTER_PD
		| RKPM_SLP_AP_PWROFF
		)
		>;
	rockchip,wakeup-config = <
		(0
		| RKPM_GPIO_WKUP_EN
		| RKPM_PWM_WKUP_EN
		)
		>;
		rockchip,pwm-regulator-config = <
		(0
		| PWM2_REGULATOR_EN
		)
		>;
		rockchip,power-ctrl =
		<&gpio1 17 GPIO_ACTIVE_HIGH>,
		<&gpio1 14 GPIO_ACTIVE_HIGH>;
};

&saradc {
	status = "okay";
};
/*
&spdif {
	status = "okay";
	pinctrl-0 = <&spdif_bus>;
	i2c-scl-rising-time-ns = <450>;
	i2c-scl-falling-time-ns = <15>;
	#sound-dai-cells = <0>;
};
*/

&sdio0 {
	clock-frequency = <50000000>;
	clock-freq-min-max = <200000 50000000>;
	supports-sdio;
	bus-width = <4>;
	disable-wp;
	cap-sd-highspeed;
	cap-sdio-irq;
	keep-power-in-suspend;
	mmc-pwrseq = <&sdio_pwrseq>;
	non-removable;
	num-slots = <1>;
	pinctrl-names = "default";
	pinctrl-0 = <&sdio0_bus4 &sdio0_cmd &sdio0_clk>;
	//sd-uhs-sdr104;
	status = "okay";
};

&sdmmc {
	clock-frequency = <150000000>;
	clock-freq-min-max = <100000 150000000>;
	supports-sd;
	bus-width = <4>;
	cap-mmc-highspeed;
	cap-sd-highspeed;
	disable-wp;
	num-slots = <1>;
	sd-uhs-sdr104;
	vmmc-supply = <&vcc3v0_sd>;
	vqmmc-supply = <&vccio_sd>;
	pinctrl-names = "default";
	pinctrl-0 = <&sdmmc_clk &sdmmc_cmd &sdmmc_cd &sdmmc_bus4>;
	status = "okay";
};

&sdhci {
	bus-width = <8>;
	mmc-hs400-1_8v;
	supports-emmc;
	non-removable;
	keep-power-in-suspend;
	mmc-hs400-enhanced-strobe;
	status = "okay";
};

&saradc {
	status = "okay";
	vref-supply = <&vcc_1v8>;
};

&tcphy0 {
	extcon = <&fusb0>;
	status = "okay";
};

&tcphy1 {
	status = "okay";
};

&tsadc {
	/* tshut mode 0:CRU 1:GPIO */
	rockchip,hw-tshut-mode = <1>;
	/* tshut polarity 0:LOW 1:HIGH */
	rockchip,hw-tshut-polarity = <1>;
	status = "okay";
};

&uart0 {
	pinctrl-names = "default";
	pinctrl-0 = <&uart0_xfer &uart0_cts>;
	status = "okay";
};

&uart2 {
 status = "disabled";
};

&uart4 {
	status = "okay";
};

&u2phy0 {
	status = "okay";
	extcon = <&fusb0>;

	u2phy0_otg: otg-port {
		status = "okay";
	};

	u2phy0_host: host-port {
		//phy-supply = <&vcc5v0_usb>;
		status = "okay";
	};
};

&u2phy1 {
	status = "okay";

	u2phy1_otg: otg-port {
		status = "okay";
	};

	u2phy1_host: host-port {
		status = "okay";
	};
};

&usbdrd3_0 {
	//extcon = <&fusb0>;
	status = "okay";
};

&usbdrd3_1 {
	status = "okay";
};

&usbdrd_dwc3_0 {
	status = "okay";
	extcon = <&fusb0>;
};

&usbdrd_dwc3_1 {
	status = "okay";
	dr_mode = "host";
};

&usb_host0_ehci {
	status = "okay";
};

&usb_host0_ohci {
	status = "okay";
};

&usb_host1_ehci {
	status = "okay";
};

&usb_host1_ohci {
	status = "okay";
};

&vopb {
	assigned-clocks = <&cru DCLK_VOP0_DIV>;
	assigned-clock-parents = <&cru PLL_CPLL>;
};

&vopl {
	assigned-clocks = <&cru DCLK_VOP1_DIV>;
	assigned-clock-parents = <&cru PLL_VPLL>;
};

&pinctrl {

	ak8963 {
		ak8963_irq_gpio: ak8963-irq-gpio {
			rockchip,pins = <1 RK_PA0 RK_FUNC_GPIO &pcfg_pull_none>;
		};
	};

	charger {
		charger_ok: charge-ok {
			rockchip,pins =
				<0 RK_PA5 RK_FUNC_GPIO &pcfg_pull_up>;
		};
	};
	
	io_control {
		gpio_one: gpio-one {
			rockchip,pins = <1 23 RK_FUNC_GPIO &pcfg_pull_up>;
		};
		gpio_two: gpio-two {
			rockchip,pins = <1 24 RK_FUNC_GPIO &pcfg_pull_up>;
		};
		gpio_three: gpio-three {
			rockchip,pins = <1 19 RK_FUNC_GPIO &pcfg_pull_up>;
			//rockchip,pins = <4 16 RK_FUNC_GPIO &pcfg_pull_up>;//for hua tong
		};
		gpio_four: gpio-four {
			rockchip,pins = <1 18 RK_FUNC_GPIO &pcfg_pull_up>;
			//rockchip,pins = <2 28 RK_FUNC_GPIO &pcfg_pull_up>;//for hua tong
		};
		
	};

	keys {
		key_call1: key-call1 {
			rockchip,pins = <4 17 RK_FUNC_GPIO &pcfg_pull_up>;
		};
		key_call2: key-call2 {
			rockchip,pins = <4 16 RK_FUNC_GPIO &pcfg_pull_up>;
		};
	};

	i2s0 {
		i2s0_8ch_bus: i2s0-8ch-bus {
			rockchip,pins =
				<3 24 RK_FUNC_1 &pcfg_pull_none>,
				<3 25 RK_FUNC_1 &pcfg_pull_none>,
				<3 26 RK_FUNC_1 &pcfg_pull_none>,
				<3 27 RK_FUNC_1 &pcfg_pull_none>,
				<3 28 RK_FUNC_1 &pcfg_pull_none>,
		//		<3 29 RK_FUNC_1 &pcfg_pull_none>,
		//		<3 30 RK_FUNC_1 &pcfg_pull_none>,
				<3 31 RK_FUNC_1 &pcfg_pull_none>;
			};

		i2s_8ch_mclk: i2s-8ch-mclk {
				rockchip,pins = <4 RK_PA0 1 &pcfg_pull_none>;
		};
	};

	i2s1 {
		i2s1_2ch_bus: i2s1-2ch-bus {
			rockchip,pins =
				<4 3 RK_FUNC_1 &pcfg_pull_none>,
				<4 4 RK_FUNC_1 &pcfg_pull_none>,
				<4 5 RK_FUNC_1 &pcfg_pull_none>,
				<4 6 RK_FUNC_1 &pcfg_pull_none>,
				<4 7 RK_FUNC_1 &pcfg_pull_none>;
		};
	};

	headphone {
		hp_det: hp-det {
			rockchip,pins = <4 RK_PD4 RK_FUNC_GPIO &pcfg_pull_up>;
		};
		hp_con: hp-con {
			rockchip,pins = <4 RK_PC5 RK_FUNC_GPIO &pcfg_output_high>;
		};					
	};

	hdmiin {
		hdmiin_gpios: hdmiin_gpios {
		rockchip,pins =
				<0 13 RK_FUNC_GPIO &pcfg_pull_none>,
				<3 25 RK_FUNC_GPIO &pcfg_pull_none>,
				<0 2 RK_FUNC_GPIO &pcfg_pull_none>,
				<4 4 RK_FUNC_GPIO &pcfg_pull_none>;
		};
	};

	fusb30x {
		fusb0_int: fusb0-int {
			rockchip,pins = <0 12 RK_FUNC_GPIO &pcfg_pull_up>,
					        <4 25 RK_FUNC_GPIO &pcfg_pull_up>;
		};
	};

	mpu6500 {
		mpu6500_irq_gpio: mpu6500-irq-gpio {
			rockchip,pins = <1 22 RK_FUNC_GPIO &pcfg_pull_none>;
		};
	};

	pmic {
		pmic_int_l: pmic-int-l {
			rockchip,pins =
				<1 RK_PC5 RK_FUNC_GPIO &pcfg_pull_up>;
		};

		vsel1_gpio: vsel1-gpio {
		    //modify by pirlo for slove reboot crash
			rockchip,pins =
				<1 RK_PC1 RK_FUNC_GPIO &pcfg_pull_down>;
		};

		vsel2_gpio: vsel2-gpio {
			rockchip,pins =
				<1 RK_PB6 RK_FUNC_GPIO &pcfg_pull_down>;
		};

		soc_slppin_gpio: soc-slppin-gpio {
			rockchip,pins =
				<1 RK_PA5 0 &pcfg_output_low>;
		};

		soc_slppin_slp: soc-slppin-slp {
			rockchip,pins =
				<1 RK_PA5 1 &pcfg_pull_none>;
		};
	};

	sdio-pwrseq {
		wifi_enable_h: wifi-enable-h {
			rockchip,pins =
				<0 10 RK_FUNC_GPIO &pcfg_pull_none>;
		};
	};

	wireless-bluetooth {
		uart0_gpios: uart0-gpios {
			rockchip,pins =
				<2 RK_PC3 RK_FUNC_GPIO &pcfg_pull_none>;
		};

		bt_reset_gpio: bt-reset-gpio {
			rockchip,pins =
				<0 RK_PB1 RK_FUNC_GPIO &pcfg_pull_none>;
		};

		bt_wake_gpio: bt-wake-gpio {
			rockchip,pins =
				<2 RK_PD2 RK_FUNC_GPIO &pcfg_pull_none>;
		};

		bt_irq_gpio: bt-irq-gpio {
			rockchip,pins =
				<0 RK_PA4 RK_FUNC_GPIO &pcfg_pull_down>;
		};
	};
/*
	rk-modem {
		lte_vbat: lte-vbat {
			rockchip,pins = <4 RK_PD0 RK_FUNC_GPIO &pcfg_pull_none>;
		};

		lte_power_en: lte-power-en {
			rockchip,pins = <4 RK_PC6 RK_FUNC_GPIO &pcfg_pull_none>;
		};

		lte_reset: lte-reset {
			rockchip,pins = <4 RK_PD4 RK_FUNC_GPIO &pcfg_pull_none>;
		};
	};
*/
	usb2 {
		otg_vbus_drv: otg-vbus-drv {
			rockchip,pins = 
				<4 RK_PD1 RK_FUNC_GPIO &pcfg_pull_none>;
		};
		usb_cam_drv: usb-cam-drv {
			rockchip,pins = 
				<2 28 RK_FUNC_GPIO &pcfg_pull_none>;
		};
		vcc_4g_drv: vcc-4g-drv {
			rockchip,pins = 
				<0 11 RK_FUNC_GPIO &pcfg_pull_none>;
		};
		/*vcc_rfid_drv: vcc_rfid_drv {
			rockchip,pins = 
				<1 4 RK_FUNC_GPIO &pcfg_pull_none>;
		};*/
	};
	sd {
		sdmmc0_pwr_h: sdmmc0-pwr-h {
			rockchip,pins =
				<0 RK_PA1 RK_FUNC_GPIO &pcfg_pull_none>;
		};
	};

	usbnet {
		usbnet_pwr_drv: usbnet-pwr-drv {
			rockchip,pins =
				<4 18 RK_FUNC_GPIO &pcfg_pull_none>;
		};
	};
	
};
